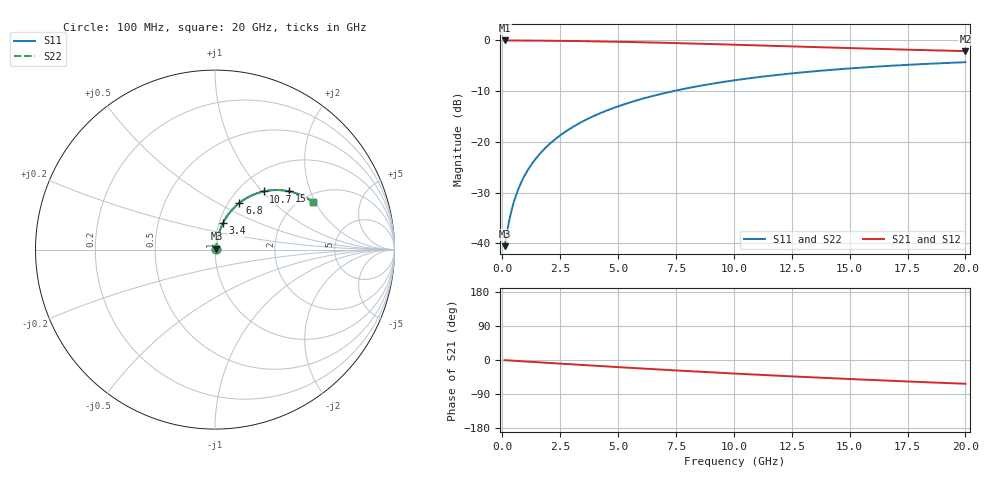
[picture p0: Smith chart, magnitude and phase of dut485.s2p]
! Touchstone file exported from HFSS 2026.1.0
!  File:  C:/ffzhzh/LocalFiles/Ansys_Project_Files/temp_train_BSMRDL_485_1783013916_4048.aedt
!  Generated:  01:40:15 AM Jul  3, 2026
!  Design:  BSMRDL
!  Project:  temp_train_BSMRDL_485_1783013916_4048
! Variables:
!  h_bsmrdl = 2.93um
!  h_ox = 20um
!  h_rdl = 5um
!  h_sub = 80um
!  h_tmrdl = 5um
!  h_tsv = 80um
!  h_via = 3um
!  l_bsmrdl = 941.02um
!  l_sub = 1341.02um
!  l_tmrdl = 200um
!  m_sub = 200um
!  pitch = 47.96um
!  r_tsv = 6um
!  s_tmrdl = 10um
!  w_bsmrdl = 14.21um
!  w_sub = 500um
!  w_tmrdl = 12um
!  x_tsv_center1 = 206um
!  x_tsv_center2 = 1161.23um
!  x_tsv_center3 = 1373.23um
!  x_tsv_center4 = 2328.46um
!  x_tsv_center5 = 2540.46um
!  x_tsv_center6 = 3495.69um
# GHz S MA R 50.000000
! Terminal data exported
! Port[1] = BSM_RDL1_1_T1
! Port[2] = BSM_RDL1_1_T2
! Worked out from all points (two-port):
!   200 points, 100 MHz to 20 GHz, reference 50 ohm
!   highest |S21| = -0.07 dB at 100 MHz (marker M1); lowest = -2.2 dB at 20 GHz (marker M2)
!   |S21| within 3 dB of the highest: start of sweep to end of sweep
!   lowest |S11| = -40.6 dB at 100 MHz (marker M3), VSWR 1.02, Z = 50.8 + j0.493 ohm
!   |S11| at or under -10 dB: start of sweep to 7.426 GHz
!   |S22| runs from -40.6 to -4.3 dB; largest |S21 - S12| = 3e-15
!   S11 on the Smith chart (normalised r, x): 100 MHz: 1.02, +0.01; 3.4 GHz: 1.04, +0.32; 6.8 GHz: 1.12, +0.64; 10.7 GHz: 1.29, +1.02; 15 GHz: 1.61, +1.45; 20 GHz: 2.29, +1.91
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0.1  0.00937 31.2  0.992 -0.4  0.992 -0.4  0.00937 31.2
! Gamma 0 0 0 0
! Port Impedance 50 0 50 0
0.3  0.01677 59.3  0.9916 -1.2  0.9916 -1.2  0.01677 59.3
0.4  0.02111 64.8  0.9914 -1.6  0.9914 -1.6  0.02111 64.8
0.5  0.02555 68.3  0.9911 -2.0  0.9911 -2.0  0.02555 68.3
0.6  0.03001 70.6  0.9908 -2.4  0.9908 -2.4  0.03001 70.6
0.8  0.03899 73.4  0.9902 -3.1  0.9902 -3.1  0.03899 73.4
1.1  0.05249 75.5  0.9893 -4.3  0.9893 -4.3  0.05249 75.5
1.6  0.07505 76.4  0.9875 -6.2  0.9875 -6.2  0.07505 76.4
2.1  0.09755 76.1  0.9853 -8.1  0.9853 -8.1  0.09755 76.1
2.7  0.1243 75.0  0.9821 -10.3  0.9821 -10.3  0.1243 75.0
3.4  0.1551 73.1  0.9774 -12.9  0.9774 -12.9  0.1551 73.2
3.5  0.1595 72.9  0.9766 -13.3  0.9766 -13.3  0.1595 72.9
4.2  0.1895 70.8  0.9709 -15.9  0.9709 -15.9  0.1895 70.8
5  0.2228 68.2  0.9634 -18.8  0.9634 -18.8  0.2228 68.2
6.8  0.2933 62.4  0.9434 -25.2  0.9434 -25.2  0.2933 62.4
8.3  0.3468 57.5  0.9244 -30.2  0.9244 -30.2  0.3468 57.6
10.1  0.4043 51.9  0.9001 -36.0  0.9001 -36.0  0.4043 52.0
10.7  0.4219 50.1  0.8919 -37.9  0.8919 -37.9  0.4219 50.2
13.4  0.4916 42.4  0.8551 -45.8  0.8551 -45.8  0.4916 42.4
15  0.5261 38.1  0.8344 -50.2  0.8344 -50.2  0.5261 38.1
16.7  0.5577 33.7  0.8139 -54.6  0.8139 -54.6  0.5577 33.8
20  0.6062 25.8  0.7792 -62.7  0.7792 -62.7  0.6061 25.9
